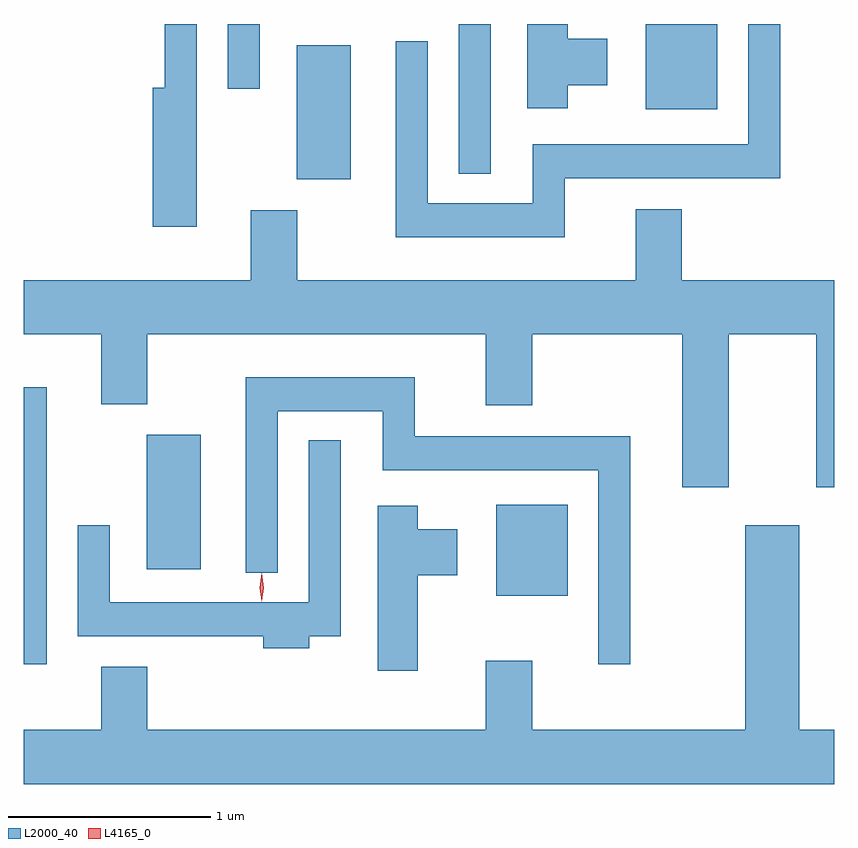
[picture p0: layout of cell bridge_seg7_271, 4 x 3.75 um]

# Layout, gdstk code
import gdstk
lib = gdstk.Library(unit=1e-6, precision=1e-09)
def R(c, l, rs):  # rectangles x0, y0, x1, y1
    for r in rs: c.add(gdstk.rectangle(r[:2], r[2:], *l))
def P(c, l, *ps):  # polygons
    for p in ps: c.add(gdstk.Polygon(p, *l))
L2000_40 = (2000, 40)
L4165_0 = (4165, 0)

bridge_seg7_271 = lib.new_cell('bridge_seg7_271')
R(bridge_seg7_271, L2000_40, [(1255.84,1801.488,1255.954,1802.854), (1258.171,1801.826,1258.524,1802.274), (1256.446,1801.956,1256.714,1802.619), (1257.186,1803.881,1257.454,1804.544), (1257.986,1803.908,1258.144,1804.648), (1258.911,1804.226,1259.264,1804.648), (1256.846,1804.328,1257.004,1804.648)])
P(bridge_seg7_271, L2000_40, [(1256.694,1804.648),(1256.536,1804.648),(1256.536,1804.334),(1256.476,1804.334),(1256.476,1803.646),(1256.694,1803.646)],
  [(1258.524,1804.346),(1258.719,1804.346),(1258.719,1804.574),(1258.524,1804.574),(1258.524,1804.648),(1258.326,1804.648),(1258.326,1804.231),(1258.524,1804.231)],
  [(1258.509,1803.886),(1259.574,1803.886),(1259.574,1804.648),(1259.416,1804.648),(1259.416,1804.054),(1258.351,1804.054),(1258.351,1803.764),(1257.834,1803.764),(1257.834,1804.563),(1257.676,1804.563),(1257.676,1803.596),(1258.509,1803.596)],
  [(1259.319,1803.116),(1259.751,1803.116),(1259.751,1802.361),(1259.84,1802.361),(1259.84,1803.384),(1259.089,1803.384),(1259.089,1803.734),(1258.861,1803.734),(1258.861,1803.384),(1257.189,1803.384),(1257.189,1803.729),(1256.961,1803.729),(1256.961,1803.384),(1255.84,1803.384),(1255.84,1803.116),(1256.221,1803.116),(1256.221,1802.771),(1256.449,1802.771),(1256.449,1803.116),(1258.121,1803.116),(1258.121,1802.766),(1258.349,1802.766),(1258.349,1803.116),(1259.091,1803.116),(1259.091,1802.361),(1259.319,1802.361)],
  [(1258.834,1802.614),(1257.769,1802.614),(1257.769,1802.904),(1256.936,1802.904),(1256.936,1801.938),(1257.094,1801.938),(1257.094,1802.736),(1257.611,1802.736),(1257.611,1802.446),(1258.676,1802.446),(1258.676,1801.488),(1258.834,1801.488)],
  [(1257.249,1801.626),(1257.404,1801.626),(1257.404,1802.593),(1257.246,1802.593),(1257.246,1801.794),(1256.264,1801.794),(1256.264,1802.173),(1256.106,1802.173),(1256.106,1801.626),(1257.021,1801.626),(1257.021,1801.566),(1257.249,1801.566)],
  [(1257.784,1801.926),(1257.979,1801.926),(1257.979,1802.154),(1257.784,1802.154),(1257.784,1802.269),(1257.586,1802.269),(1257.586,1801.456),(1257.784,1801.456)],
  [(1259.84,1801.164),(1259.669,1801.164),(1259.669,1802.174),(1259.401,1802.174),(1259.401,1801.164),(1258.349,1801.164),(1258.349,1801.504),(1258.121,1801.504),(1258.121,1801.164),(1256.449,1801.164),(1256.449,1801.474),(1256.221,1801.474),(1256.221,1801.164),(1255.84,1801.164),(1255.84,1800.896),(1259.84,1800.896)])
P(bridge_seg7_271, L4165_0, [(1257.014,1801.797),(1257.005,1801.866),(1257.014,1801.936),(1257.015,1801.936),(1257.015,1801.936),(1257.025,1801.866),(1257.015,1801.797),(1257.015,1801.797)],
  [(1257.015,1801.799),(1257.014,1801.8),(1257.005,1801.866),(1257.014,1801.932),(1257.015,1801.933),(1257.015,1801.932),(1257.025,1801.866),(1257.015,1801.8)])

lib.write_gds('bridge_seg7_271.gds')
